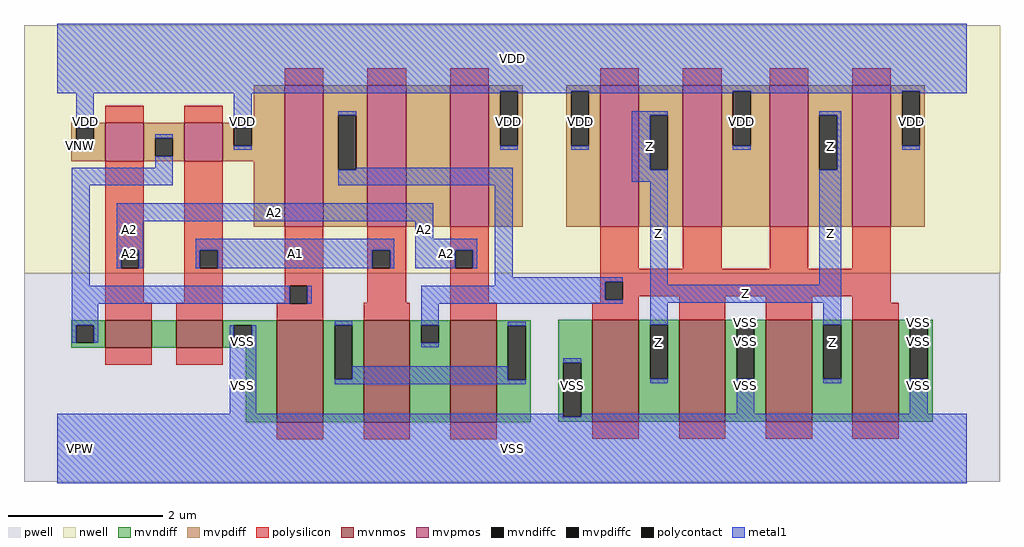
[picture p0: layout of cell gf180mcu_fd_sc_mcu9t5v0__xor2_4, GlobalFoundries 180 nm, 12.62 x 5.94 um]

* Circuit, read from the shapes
.subckt gf180mcu_fd_sc_mcu9t5v0__xor2_4 A1 A2 Z VDD VNW VPW VSS
XM1 n1 A2 n2 VPW nfet_06v0 w=0.36u l=0.6u
XM2 VSS A1 n1 VPW nfet_06v0 w=0.36u l=0.6u
XM3 n3 n2 VSS VPW nfet_06v0 w=1.32u l=0.6u
XM4 n4 A1 n3 VPW nfet_06v0 w=1.32u l=0.6u
XM5 n3 A2 n4 VPW nfet_06v0 w=1.32u l=0.6u
XM6 Z n4 VSS VPW nfet_06v0 w=1.32u l=0.6u m=4
XM7 n2 A2 VDD VNW pfet_06v0 w=0.495u l=0.5u
XM8 VDD A1 n2 VNW pfet_06v0 w=0.495u l=0.5u
XM9 n4 n2 VDD VNW pfet_06v0 w=1.83u l=0.5u
XM10 n5 A1 n4 VNW pfet_06v0 w=1.83u l=0.5u
XM11 VDD A2 n5 VNW pfet_06v0 w=1.83u l=0.5u
XM12 Z n4 VDD VNW pfet_06v0 w=1.83u l=0.5u m=4
.ends

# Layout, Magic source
magic
tech gf180mcuD
magscale 1 10
<< nwell >>
rect -86 453 2438 1094
<< pwell >>
rect -86 -86 2438 453
<< mvnmos >>
rect 124 260 244 332
rect 308 260 428 332
rect 568 68 688 332
rect 792 68 912 332
rect 1016 68 1136 332
rect 1384 69 1504 333
rect 1608 69 1728 333
rect 1832 69 1952 333
rect 2056 69 2176 333
<< mvpmos >>
rect 124 743 224 842
rect 328 743 428 842
rect 588 573 688 939
rect 802 573 902 939
rect 1016 573 1116 939
rect 1404 573 1504 939
rect 1618 573 1718 939
rect 1842 573 1942 939
rect 2056 573 2156 939
<< mvndiff >>
rect 36 319 124 332
rect 36 273 49 319
rect 95 273 124 319
rect 36 260 124 273
rect 244 260 308 332
rect 428 319 568 332
rect 428 273 457 319
rect 503 273 568 319
rect 428 260 568 273
rect 488 68 568 260
rect 688 319 792 332
rect 688 179 717 319
rect 763 179 792 319
rect 688 68 792 179
rect 912 319 1016 332
rect 912 273 941 319
rect 987 273 1016 319
rect 912 68 1016 273
rect 1136 317 1224 332
rect 1136 177 1165 317
rect 1211 177 1224 317
rect 1136 68 1224 177
rect 1296 222 1384 333
rect 1296 82 1309 222
rect 1355 82 1384 222
rect 1296 69 1384 82
rect 1504 320 1608 333
rect 1504 180 1533 320
rect 1579 180 1608 320
rect 1504 69 1608 180
rect 1728 320 1832 333
rect 1728 180 1757 320
rect 1803 180 1832 320
rect 1728 69 1832 180
rect 1952 320 2056 333
rect 1952 180 1981 320
rect 2027 180 2056 320
rect 1952 69 2056 180
rect 2176 320 2264 333
rect 2176 180 2205 320
rect 2251 180 2264 320
rect 2176 69 2264 180
<< mvpdiff >>
rect 508 842 588 939
rect 36 829 124 842
rect 36 783 49 829
rect 95 783 124 829
rect 36 743 124 783
rect 224 802 328 842
rect 224 756 253 802
rect 299 756 328 802
rect 224 743 328 756
rect 428 829 588 842
rect 428 783 457 829
rect 503 783 588 829
rect 428 743 588 783
rect 508 573 588 743
rect 688 861 802 939
rect 688 721 727 861
rect 773 721 802 861
rect 688 573 802 721
rect 902 573 1016 939
rect 1116 923 1204 939
rect 1116 783 1145 923
rect 1191 783 1204 923
rect 1116 573 1204 783
rect 1316 923 1404 939
rect 1316 783 1329 923
rect 1375 783 1404 923
rect 1316 573 1404 783
rect 1504 861 1618 939
rect 1504 721 1533 861
rect 1579 721 1618 861
rect 1504 573 1618 721
rect 1718 923 1842 939
rect 1718 783 1747 923
rect 1793 783 1842 923
rect 1718 573 1842 783
rect 1942 861 2056 939
rect 1942 721 1971 861
rect 2017 721 2056 861
rect 1942 573 2056 721
rect 2156 923 2244 939
rect 2156 783 2185 923
rect 2231 783 2244 923
rect 2156 573 2244 783
<< mvndiffc >>
rect 49 273 95 319
rect 457 273 503 319
rect 717 179 763 319
rect 941 273 987 319
rect 1165 177 1211 317
rect 1309 82 1355 222
rect 1533 180 1579 320
rect 1757 180 1803 320
rect 1981 180 2027 320
rect 2205 180 2251 320
<< mvpdiffc >>
rect 49 783 95 829
rect 253 756 299 802
rect 457 783 503 829
rect 727 721 773 861
rect 1145 783 1191 923
rect 1329 783 1375 923
rect 1533 721 1579 861
rect 1747 783 1793 923
rect 1971 721 2017 861
rect 2185 783 2231 923
<< polysilicon >>
rect 588 939 688 983
rect 802 939 902 983
rect 1016 939 1116 983
rect 1404 939 1504 983
rect 1618 939 1718 983
rect 1842 939 1942 983
rect 2056 939 2156 983
rect 124 842 224 886
rect 328 842 428 886
rect 124 512 224 743
rect 124 466 165 512
rect 211 466 224 512
rect 124 376 224 466
rect 328 512 428 743
rect 328 466 369 512
rect 415 466 428 512
rect 328 376 428 466
rect 588 420 688 573
rect 588 376 601 420
rect 124 332 244 376
rect 308 332 428 376
rect 568 374 601 376
rect 647 374 688 420
rect 802 512 902 573
rect 802 466 815 512
rect 861 466 902 512
rect 802 376 902 466
rect 1016 512 1116 573
rect 1016 466 1029 512
rect 1075 466 1116 512
rect 1016 376 1116 466
rect 1404 465 1504 573
rect 1618 465 1718 573
rect 1842 465 1942 573
rect 2056 465 2156 573
rect 1404 431 2156 465
rect 1404 385 1417 431
rect 1463 393 2156 431
rect 1463 385 1504 393
rect 1404 377 1504 385
rect 568 332 688 374
rect 792 332 912 376
rect 1016 332 1136 376
rect 1384 333 1504 377
rect 1608 333 1728 393
rect 1832 333 1952 393
rect 2056 377 2156 393
rect 2056 333 2176 377
rect 124 216 244 260
rect 308 216 428 260
rect 568 24 688 68
rect 792 24 912 68
rect 1016 24 1136 68
rect 1384 25 1504 69
rect 1608 25 1728 69
rect 1832 25 1952 69
rect 2056 25 2176 69
<< polycontact >>
rect 165 466 211 512
rect 369 466 415 512
rect 601 374 647 420
rect 815 466 861 512
rect 1029 466 1075 512
rect 1417 385 1463 431
<< metal1 >>
rect 0 923 2352 1098
rect 0 918 1145 923
rect 49 829 95 918
rect 457 829 503 918
rect 49 772 95 783
rect 253 802 299 813
rect 457 772 503 783
rect 727 861 773 872
rect 253 726 299 756
rect 38 680 299 726
rect 1191 918 1329 923
rect 1145 772 1191 783
rect 1375 918 1747 923
rect 1329 772 1375 783
rect 1486 861 1579 872
rect 773 721 1178 726
rect 727 680 1178 721
rect 1486 721 1533 861
rect 1793 918 2185 923
rect 1747 772 1793 783
rect 1971 861 2027 872
rect 1486 690 1579 721
rect 38 420 84 680
rect 154 588 972 634
rect 154 512 222 588
rect 926 542 972 588
rect 154 466 165 512
rect 211 466 222 512
rect 358 512 872 542
rect 358 466 369 512
rect 415 466 815 512
rect 861 466 872 512
rect 926 512 1086 542
rect 926 466 1029 512
rect 1075 466 1086 512
rect 1132 442 1178 680
rect 1132 431 1463 442
rect 1132 420 1417 431
rect 38 374 601 420
rect 647 374 658 420
rect 941 385 1417 420
rect 941 374 1463 385
rect 1533 423 1579 690
rect 2017 721 2027 861
rect 2231 918 2352 923
rect 2185 772 2231 783
rect 1971 423 2027 721
rect 1533 377 2027 423
rect 38 319 106 374
rect 717 319 763 330
rect 38 273 49 319
rect 95 273 106 319
rect 446 273 457 319
rect 503 273 514 319
rect 446 90 514 273
rect 941 319 987 374
rect 941 262 987 273
rect 1165 317 1211 328
rect 763 179 1165 212
rect 717 177 1165 179
rect 1533 320 1579 377
rect 717 166 1211 177
rect 1309 222 1355 233
rect 0 82 1309 90
rect 1533 169 1579 180
rect 1757 320 1803 331
rect 1757 90 1803 180
rect 1981 320 2027 377
rect 1981 169 2027 180
rect 2205 320 2251 331
rect 2205 90 2251 180
rect 1355 82 2352 90
rect 0 -90 2352 82
<< labels >>
flabel metal1 s 358 466 872 542 0 FreeSans 200 0 0 0 A1
port 1 nsew default input
flabel metal1 s 154 588 972 634 0 FreeSans 200 0 0 0 A2
port 2 nsew default input
flabel metal1 s 0 918 2352 1098 0 FreeSans 200 0 0 0 VDD
port 4 nsew power bidirectional abutment
flabel metal1 s 2205 319 2251 331 0 FreeSans 200 0 0 0 VSS
port 7 nsew ground bidirectional abutment
flabel metal1 s 1971 690 2027 872 0 FreeSans 200 0 0 0 Z
port 3 nsew default output
flabel nwell s 10 734 110 834 0 FreeSans 400 0 0 0 VNW
port 5 nsew power bidirectional
flabel pwell s 10 -50 110 50 0 FreeSans 400 0 0 0 VPW
port 6 nsew ground bidirectional
rlabel metal1 s 926 542 972 588 1 A2
port 2 nsew default input
rlabel metal1 s 154 542 222 588 1 A2
port 2 nsew default input
rlabel metal1 s 926 466 1086 542 1 A2
port 2 nsew default input
rlabel metal1 s 154 466 222 542 1 A2
port 2 nsew default input
rlabel metal1 s 1486 690 1579 872 1 Z
port 3 nsew default output
rlabel metal1 s 1971 423 2027 690 1 Z
port 3 nsew default output
rlabel metal1 s 1533 423 1579 690 1 Z
port 3 nsew default output
rlabel metal1 s 1533 377 2027 423 1 Z
port 3 nsew default output
rlabel metal1 s 1981 169 2027 377 1 Z
port 3 nsew default output
rlabel metal1 s 1533 169 1579 377 1 Z
port 3 nsew default output
rlabel metal1 s 2185 772 2231 918 1 VDD
port 4 nsew power bidirectional abutment
rlabel metal1 s 1747 772 1793 918 1 VDD
port 4 nsew power bidirectional abutment
rlabel metal1 s 1329 772 1375 918 1 VDD
port 4 nsew power bidirectional abutment
rlabel metal1 s 1145 772 1191 918 1 VDD
port 4 nsew power bidirectional abutment
rlabel metal1 s 457 772 503 918 1 VDD
port 4 nsew power bidirectional abutment
rlabel metal1 s 49 772 95 918 1 VDD
port 4 nsew power bidirectional abutment
rlabel metal1 s 1757 319 1803 331 1 VSS
port 7 nsew ground bidirectional abutment
rlabel metal1 s 2205 233 2251 319 1 VSS
port 7 nsew ground bidirectional abutment
rlabel metal1 s 1757 233 1803 319 1 VSS
port 7 nsew ground bidirectional abutment
rlabel metal1 s 446 233 514 319 1 VSS
port 7 nsew ground bidirectional abutment
rlabel metal1 s 2205 90 2251 233 1 VSS
port 7 nsew ground bidirectional abutment
rlabel metal1 s 1757 90 1803 233 1 VSS
port 7 nsew ground bidirectional abutment
rlabel metal1 s 1309 90 1355 233 1 VSS
port 7 nsew ground bidirectional abutment
rlabel metal1 s 446 90 514 233 1 VSS
port 7 nsew ground bidirectional abutment
rlabel metal1 s 0 -90 2352 90 1 VSS
port 7 nsew ground bidirectional abutment
<< properties >>
string FIXED_BBOX 0 0 2352 1008
string GDS_END 499070
string GDS_FILE $PDKPATH/libs.ref/gf180mcu_fd_sc_mcu9t5v0/gds/gf180mcu_fd_sc_mcu9t5v0.gds
string GDS_START 493146
string LEFclass core
string LEFsite GF018hv5v_green_sc9
string LEFsymmetry X Y
<< end >>
